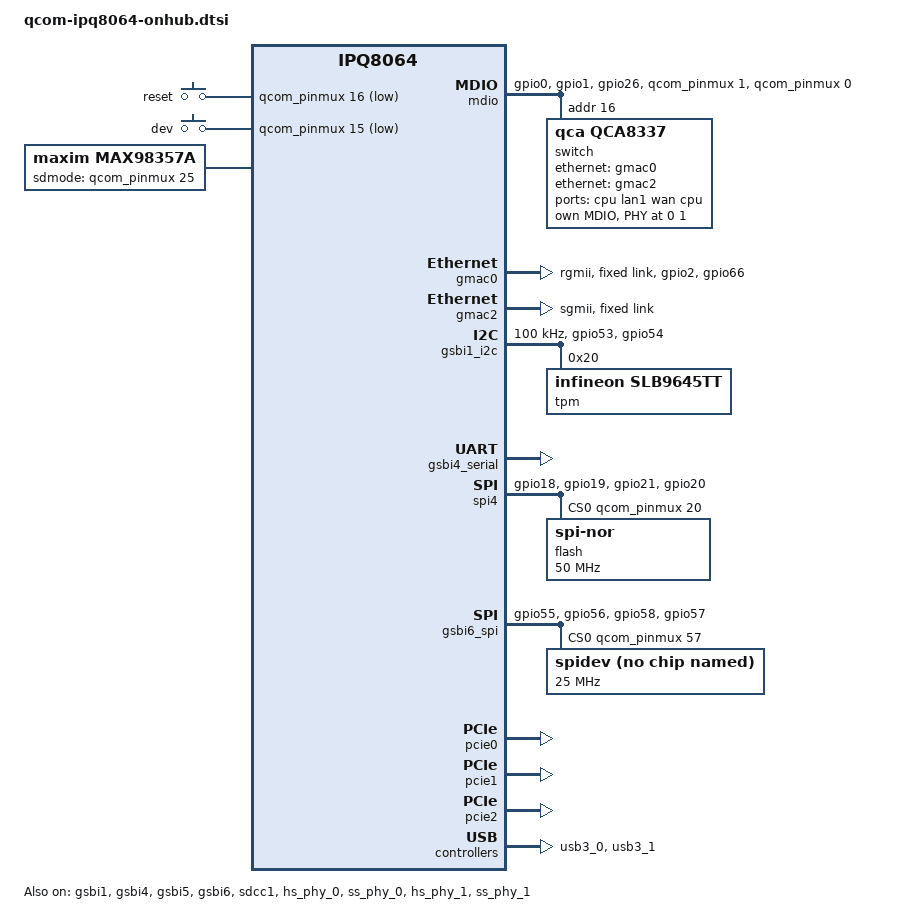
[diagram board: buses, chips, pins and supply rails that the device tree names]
// SPDX-License-Identifier: GPL-2.0
/*
 * Copyright 2014 The ChromiumOS Authors
 */

#include "qcom-ipq8064-smb208.dtsi"
#include <dt-bindings/gpio/gpio.h>
#include <dt-bindings/input/input.h>
#include <dt-bindings/soc/qcom,tcsr.h>

/ {
	aliases {
		ethernet0 = &gmac0;
		ethernet1 = &gmac2;
		mdio-gpio0 = &mdio;
		serial0 = &gsbi4_serial;
	};

	chosen {
		stdout-path = "serial0:115200n8";
	};

	reserved-memory {
		#address-cells = <1>;
		#size-cells = <1>;
		ranges;

		rsvd@41200000 {
			reg = <0x41200000 0x300000>;
			no-map;
		};
	};

	keys {
		compatible = "gpio-keys";
		pinctrl-0 = <&button_pins>;
		pinctrl-names = "default";

		reset {
			label = "reset";
			gpios = <&qcom_pinmux 16 GPIO_ACTIVE_LOW>;
			linux,code = <KEY_RESTART>;
			debounce-interval = <60>;
			wakeup-source;
		};

		dev {
			label = "dev";
			gpios = <&qcom_pinmux 15 GPIO_ACTIVE_LOW>;
			linux,code = <KEY_CONFIG>;
			debounce-interval = <60>;
			wakeup-source;
		};
	};

	mdio: mdio {
		compatible = "virtual,mdio-gpio";
		#address-cells = <1>;
		#size-cells = <0>;
		gpios = <&qcom_pinmux 1 GPIO_ACTIVE_HIGH>,
			<&qcom_pinmux 0 GPIO_ACTIVE_HIGH>;
		pinctrl-0 = <&mdio_pins>;
		pinctrl-names = "default";

		switch@10 {
			compatible = "qca,qca8337";
			#address-cells = <1>;
			#size-cells = <0>;
			reg = <0x10>;

			ports {
				#address-cells = <1>;
				#size-cells = <0>;

				port@0 {
					reg = <0>;
					label = "cpu";
					ethernet = <&gmac0>;
					phy-mode = "rgmii";
					tx-internal-delay-ps = <1000>;
					rx-internal-delay-ps = <1000>;

					fixed-link {
						speed = <1000>;
						full-duplex;
					};
				};

				port@1 {
					reg = <1>;
					label = "lan1";
					phy-mode = "internal";
					phy-handle = <&phy_port1>;
				};

				port@2 {
					reg = <2>;
					label = "wan";
					phy-mode = "internal";
					phy-handle = <&phy_port2>;
				};

				port@6 {
					reg = <6>;
					label = "cpu";
					ethernet = <&gmac2>;
					phy-mode = "sgmii";
					qca,sgmii-enable-pll;

					fixed-link {
						speed = <1000>;
						full-duplex;
					};
				};
			};

			mdio {
				#address-cells = <1>;
				#size-cells = <0>;

				phy_port1: phy@0 {
					reg = <0>;
				};

				phy_port2: phy@1 {
					reg = <1>;
				};
			};
		};
	};

	soc {
		rng@1a500000 {
			status = "disabled";
		};

		sound {
			compatible = "google,storm-audio";
			qcom,model = "ipq806x-storm";
			cpu = <&lpass>;
			codec = <&max98357a>;
		};

		lpass: lpass@28100000 {
			status = "okay";
			pinctrl-names = "default", "idle";
			pinctrl-0 = <&mi2s_default>;
			pinctrl-1 = <&mi2s_idle>;
		};

		max98357a: max98357a {
			compatible = "maxim,max98357a";
			#sound-dai-cells = <1>;
			pinctrl-names = "default";
			pinctrl-0 = <&sdmode_pins>;
			sdmode-gpios = <&qcom_pinmux 25 GPIO_ACTIVE_HIGH>;
		};
	};
};

&qcom_pinmux {
	rgmii0_pins: rgmii0_pins {
		mux {
			pins = "gpio2", "gpio66";
			drive-strength = <8>;
			bias-disable;
		};
	};
	mi2s_pins {
		mi2s_default: mi2s_default {
			dout {
				pins = "gpio32";
				function = "mi2s";
				drive-strength = <16>;
				bias-disable;
			};
			sync {
				pins = "gpio27";
				function = "mi2s";
				drive-strength = <16>;
				bias-disable;
			};
			clk {
				pins = "gpio28";
				function = "mi2s";
				drive-strength = <16>;
				bias-disable;
			};
		};
		mi2s_idle: mi2s_idle {
			dout {
				pins = "gpio32";
				function = "mi2s";
				drive-strength = <2>;
				bias-pull-down;
			};
			sync {
				pins = "gpio27";
				function = "mi2s";
				drive-strength = <2>;
				bias-pull-down;
			};
			clk {
				pins = "gpio28";
				function = "mi2s";
				drive-strength = <2>;
				bias-pull-down;
			};
		};
	};

	mdio_pins: mdio_pins {
		mux {
			pins = "gpio0", "gpio1";
			function = "gpio";
			drive-strength = <8>;
			bias-disable;
		};
		rst {
			pins = "gpio26";
			output-low;
		};
	};

	sdmode_pins: sdmode_pinmux {
		pins = "gpio25";
		function = "gpio";
		drive-strength = <16>;
		bias-disable;
	};

	sdcc1_pins: sdcc1_pinmux {
		mux {
			pins = "gpio38", "gpio39", "gpio40",
			       "gpio41", "gpio42", "gpio43",
			       "gpio44", "gpio45", "gpio46",
			       "gpio47";
			function = "sdc1";
		};
		cmd {
			pins = "gpio45";
			drive-strength = <10>;
			bias-pull-up;
		};
		data {
			pins = "gpio38", "gpio39", "gpio40",
			       "gpio41", "gpio43", "gpio44",
			       "gpio46", "gpio47";
			drive-strength = <10>;
			bias-pull-up;
		};
		clk {
			pins = "gpio42";
			drive-strength = <16>;
			bias-pull-down;
		};
	};

	i2c1_pins: i2c1_pinmux {
		pins = "gpio53", "gpio54";
		function = "gsbi1";
		bias-disable;
	};

	rpm_i2c_pinmux: rpm_i2c_pinmux {
		mux {
			pins = "gpio12", "gpio13";
			function = "gsbi4";
			drive-strength = <12>;
			bias-disable;
		};
	};

	spi_pins: spi_pins {
		mux {
			pins = "gpio18", "gpio19", "gpio21";
			function = "gsbi5";
			bias-pull-down;
			/delete-property/ bias-none;
			/delete-property/ drive-strength;
		};
		data {
			pins = "gpio18", "gpio19";
			drive-strength = <10>;
		};
		cs {
			pins = "gpio20";
			drive-strength = <10>;
			bias-pull-up;
		};
		clk {
			pins = "gpio21";
			drive-strength = <12>;
		};
	};

	fw_pinmux {
		wp {
			pins = "gpio17";
			output-low;
		};
	};

	button_pins: button_pins {
		recovery {
			pins = "gpio16";
			function = "gpio";
			bias-none;
		};
		developer {
			pins = "gpio15";
			function = "gpio";
			bias-none;
		};
	};

	spi6_pins: spi6_pins {
		mux {
			pins = "gpio55", "gpio56", "gpio58";
			function = "gsbi6";
			bias-pull-down;
		};
		data {
			pins = "gpio55", "gpio56";
			drive-strength = <10>;
		};
		cs {
			pins = "gpio57";
			drive-strength = <10>;
			bias-pull-up;
			output-high;
		};
		clk {
			pins = "gpio58";
			drive-strength = <12>;
		};
	};
};

&adm_dma {
	status = "okay";
};

&gmac0 {
	status = "okay";
	phy-mode = "rgmii";
	qcom,id = <0>;

	pinctrl-0 = <&rgmii0_pins>;
	pinctrl-names = "default";

	fixed-link {
		speed = <1000>;
		full-duplex;
	};
};

&gmac2 {
	status = "okay";
	phy-mode = "sgmii";
	qcom,id = <2>;

	fixed-link {
		speed = <1000>;
		full-duplex;
	};
};

&gsbi1 {
	status = "okay";
	qcom,mode = <GSBI_PROT_I2C_UART>;
};

&gsbi1_i2c {
	status = "okay";

	clock-frequency = <100000>;

	pinctrl-0 = <&i2c1_pins>;
	pinctrl-names = "default";

	tpm@20 {
		compatible = "infineon,slb9645tt";
		reg = <0x20>;
		powered-while-suspended;
	};
};

&gsbi4 {
	status = "okay";
	qcom,mode = <GSBI_PROT_I2C_UART>;
};

&gsbi4_serial {
	status = "okay";
};

&gsbi5 {
	status = "okay";
	qcom,mode = <GSBI_PROT_SPI>;

	spi4: spi@1a280000 {
		status = "okay";
		spi-max-frequency = <50000000>;
		pinctrl-0 = <&spi_pins>;
		pinctrl-names = "default";

		cs-gpios = <&qcom_pinmux 20 0>;

		flash: flash@0 {
			compatible = "jedec,spi-nor";
			spi-max-frequency = <50000000>;
			reg = <0>;
		};
	};
};

&gsbi6 {
	status = "okay";
	qcom,mode = <GSBI_PROT_SPI>;
};

&gsbi6_spi {
	status = "okay";
	spi-max-frequency = <25000000>;

	pinctrl-0 = <&spi6_pins>;
	pinctrl-names = "default";

	cs-gpios = <&qcom_pinmux 57 GPIO_ACTIVE_HIGH>;

	dmas = <&adm_dma 8 0xb>,
	       <&adm_dma 7 0x14>;
	dma-names = "rx", "tx";

	/*
	 * This "spidev" was included in the manufacturer device tree. I suspect
	 * it's the (unused) Zigbee radio -- SiliconLabs EM3581 Zigbee? There's
	 * no driver or binding for this at the moment.
	 */
	spidev@0 {
		compatible = "spidev";
		reg = <0>;
		spi-max-frequency = <25000000>;
	};
};

&pcie0 {
	status = "okay";

	pcie@0 {
		reg = <0 0 0 0 0>;
		#interrupt-cells = <1>;
		#size-cells = <2>;
		#address-cells = <3>;
		device_type = "pci";

		ath10k@0,0 {
			reg = <0 0 0 0 0>;
			device_type = "pci";
			qcom,ath10k-sa-gpio = <2 3 4 0>;
			qcom,ath10k-sa-gpio-func = <5 5 5 0>;
		};
	};
};

&pcie1 {
	status = "okay";

	pcie@0 {
		reg = <0 0 0 0 0>;
		#interrupt-cells = <1>;
		#size-cells = <2>;
		#address-cells = <3>;
		device_type = "pci";

		ath10k@0,0 {
			reg = <0 0 0 0 0>;
			device_type = "pci";
			qcom,ath10k-sa-gpio = <2 3 4 0>;
			qcom,ath10k-sa-gpio-func = <5 5 5 0>;
		};
	};
};

&pcie2 {
	status = "okay";

	pcie@0 {
		reg = <0 0 0 0 0>;
		#interrupt-cells = <1>;
		#size-cells = <2>;
		#address-cells = <3>;
		device_type = "pci";

		ath10k@0,0 {
			reg = <0 0 0 0 0>;
			device_type = "pci";
		};
	};
};

&rpm {
	pinctrl-0 = <&rpm_i2c_pinmux>;
	pinctrl-names = "default";
};

&sdcc1 {
	status = "okay";
	pinctrl-0 = <&sdcc1_pins>;
	pinctrl-names = "default";
	/delete-property/ mmc-ddr-1_8v;
};

&tcsr {
	compatible = "qcom,tcsr-ipq8064", "qcom,tcsr", "syscon";
	qcom,usb-ctrl-select = <TCSR_USB_SELECT_USB3_DUAL>;
};

&hs_phy_0 {
	status = "okay";
};

&ss_phy_0 {
	status = "okay";
};

&usb3_0 {
	status = "okay";
};

&hs_phy_1 {
	status = "okay";
};

&ss_phy_1 {
	status = "okay";
};

&usb3_1 {
	status = "okay";
};
